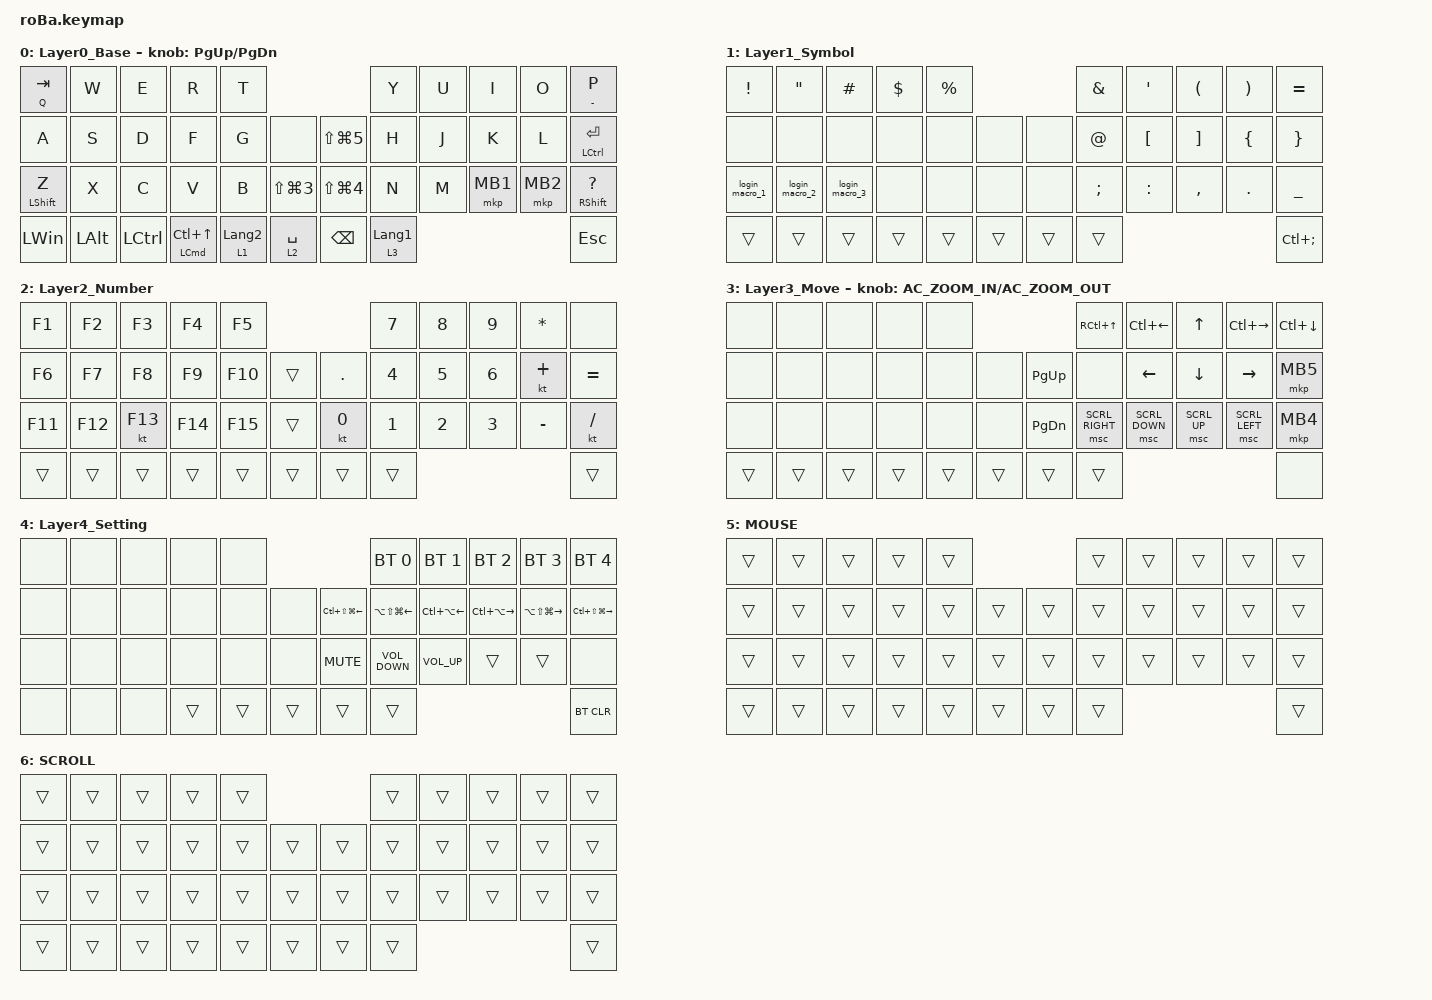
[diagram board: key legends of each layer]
#include <behaviors.dtsi>
#include <dt-bindings/zmk/bt.h>
#include <dt-bindings/zmk/keys.h>
#include <dt-bindings/zmk/pointing.h>

#define MOUSE 4
#define SCROLL 5
#define NUM 6

&mt {
    flavor = "balanced";
    quick-tap-ms = <0>;
};

/ {
    combos {
        compatible = "zmk,combos";

        tab {
            bindings = <&kp TAB>;
            key-positions = <11 12>;
        };

        shift_tab {
            bindings = <&kp LS(TAB)>;
            key-positions = <12 13>;
        };

        muhennkann {
            bindings = <&to_layer_0 INT_MUHENKAN>;
            key-positions = <11 10>;
        };

        double_quotation {
            bindings = <&kp DOUBLE_QUOTES>;
            key-positions = <20 21>;
        };

        eq {
            bindings = <&kp EQUAL>;
            key-positions = <24 25>;
        };

        Layer4 {
            bindings = <&mo 4>;
            key-positions = <38 39>;
        };
    };

    macros {
        to_layer_0: to_layer_0 {
            compatible = "zmk,behavior-macro-one-param";
            #binding-cells = <1>;
            bindings = <&to 0 &macro_param_1to1 &kp MACRO_PLACEHOLDER>;
            label = "TO_LAYER_0";
        };

        login_macro_1: login_macro_1 {
            compatible = "zmk,behavior-macro";
            #binding-cells = <0>;
            bindings = <&kp LANGUAGE_2 &kp N7 &kp N1 &kp N7 &kp Y &kp K &kp H &kp A &kp LS(T) &kp M &kp N1 &kp ENTER>;
            label = "LOGIN_MACRO_1";
        };

        login_macro_2: login_macro_2 {
            compatible = "zmk,behavior-macro";
            #binding-cells = <0>;
            bindings = <&kp LANGUAGE_2 &kp N7 &kp N1 &kp N7 &kp Y &kp K &kp H &kp A &kp T &kp M &kp ENTER>;
            label = "LOGIN_MACRO_2";
        };

        login_macro_3: login_macro_3 {
            compatible = "zmk,behavior-macro";
            #binding-cells = <0>;
            bindings = <&kp LANGUAGE_2 &kp T &kp S &kp N1 &kp N2 &kp N2 &kp N3 &kp T &kp S &kp ENTER>;
            label = "LOGIN_MACRO_3";
        };
    };

    behaviors {
        lt_to_layer_0: lt_to_layer_0 {
            compatible = "zmk,behavior-hold-tap";
            label = "LAYER_TAP_TO_0";
            bindings = <&mo>, <&to_layer_0>;

            #binding-cells = <2>;
            tapping-term-ms = <200>;
        };
    };

    keymap {
        compatible = "zmk,keymap";

        Layer0_Base {
            bindings = <
&mt Q TAB         &kp W         &kp E             &kp R                          &kp T                                                 &kp Y             &kp U  &kp I     &kp O     &mt MINUS P
&kp A             &kp S         &kp D             &kp F                          &kp G             &none               &kp LS(LG(N5))  &kp H             &kp J  &kp K     &kp L     &mt LCTRL ENTER
&mt LEFT_SHIFT Z  &kp X         &kp C             &kp V                          &kp B             &kp LS(LG(N3))      &kp LS(LG(N4))  &kp N             &kp M  &mkp MB1  &mkp MB2  &mt RIGHT_SHIFT QUESTION
&kp LEFT_WIN      &kp LEFT_ALT  &kp LEFT_CONTROL  &mt LEFT_COMMAND LC(UP_ARROW)  &lt 1 LANGUAGE_2  &lt 2 SPACE         &kp BACKSPACE   &lt 3 LANGUAGE_1                             &kp ESC
            >;

            sensor-bindings = <&inc_dec_kp PG_UP PAGE_DOWN>;
        };

        Layer1_Symbol {
            bindings = <
&kp EXCLAMATION  &kp DOUBLE_QUOTES  &kp HASH        &kp DOLLAR  &kp PERCENT                      &kp AMPERSAND  &kp SQT           &kp LEFT_PARENTHESIS  &kp RIGHT_PARENTHESIS  &kp EQUAL
&none            &none              &none           &none       &none        &none       &none   &kp AT_SIGN    &kp LEFT_BRACKET  &kp RIGHT_BRACKET     &kp LEFT_BRACE         &kp RIGHT_BRACE
&login_macro_1   &login_macro_2     &login_macro_3  &none       &none        &none       &none   &kp SEMICOLON  &kp COLON         &kp COMMA             &kp PERIOD             &kp UNDERSCORE
&trans           &trans             &trans          &trans      &trans       &trans      &trans  &trans                                                                        &kp LC(SEMICOLON)
            >;
        };

        Layer2_Number {
            bindings = <
&kp F1   &kp F2   &kp F3   &kp F4   &kp F5                           &kp N7  &kp N8  &kp N9  &kp ASTERISK  &none
&kp F6   &kp F7   &kp F8   &kp F9   &kp F10  &trans      &kp PERIOD  &kp N4  &kp N5  &kp N6  &kt PLUS      &kp EQUAL
&kp F11  &kp F12  &kt F13  &kp F14  &kp F15  &trans      &kt N0      &kp N1  &kp N2  &kp N3  &kp MINUS     &kt SLASH
&trans   &trans   &trans   &trans   &trans   &trans      &trans      &trans                                &trans
            >;
        };

        Layer3_Move {
            bindings = <
&none   &none   &none   &none   &none                              &kp RC(UP_ARROW)  &kp LC(LEFT)    &kp UP        &kp LC(RIGHT)   &kp LC(DOWN)
&none   &none   &none   &none   &none   &none       &kp PAGE_UP    &none             &kp LEFT        &kp DOWN      &kp RIGHT       &mkp MB5
&none   &none   &none   &none   &none   &none       &kp PAGE_DOWN  &msc SCRL_RIGHT   &msc SCRL_DOWN  &msc SCRL_UP  &msc SCRL_LEFT  &mkp MB4
&trans  &trans  &trans  &trans  &trans  &trans      &trans         &trans                                                          &none
            >;

            sensor-bindings = <&inc_dec_kp C_AC_ZOOM_IN C_AC_ZOOM_OUT>;
        };

        Layer4_Setting {
            bindings = <
&none  &none  &none  &none   &none                                     &bt BT_SEL 0          &bt BT_SEL 1      &bt BT_SEL 2       &bt BT_SEL 3           &bt BT_SEL 4
&none  &none  &none  &none   &none   &none       &kp LC(LS(LG(LEFT)))  &kp LA(LS(LG(LEFT)))  &kp LC(LA(LEFT))  &kp LC(LA(RIGHT))  &kp LA(LS(LG(RIGHT)))  &kp LC(LS(LG(RIGHT)))
&none  &none  &none  &none   &none   &none       &kp K_MUTE            &kp C_VOLUME_DOWN     &kp C_VOLUME_UP   &trans             &trans                 &none
&none  &none  &none  &trans  &trans  &trans      &trans                &trans                                                                            &bt BT_CLR
            >;
        };

        MOUSE {
            bindings = <
&trans  &trans  &trans  &trans  &trans                      &trans  &trans  &trans  &trans  &trans
&trans  &trans  &trans  &trans  &trans  &trans      &trans  &trans  &trans  &trans  &trans  &trans
&trans  &trans  &trans  &trans  &trans  &trans      &trans  &trans  &trans  &trans  &trans  &trans
&trans  &trans  &trans  &trans  &trans  &trans      &trans  &trans                          &trans
            >;
        };

        SCROLL {
            bindings = <
&trans  &trans  &trans  &trans  &trans                      &trans  &trans  &trans  &trans  &trans
&trans  &trans  &trans  &trans  &trans  &trans      &trans  &trans  &trans  &trans  &trans  &trans
&trans  &trans  &trans  &trans  &trans  &trans      &trans  &trans  &trans  &trans  &trans  &trans
&trans  &trans  &trans  &trans  &trans  &trans      &trans  &trans                          &trans
            >;
        };
    };
};
